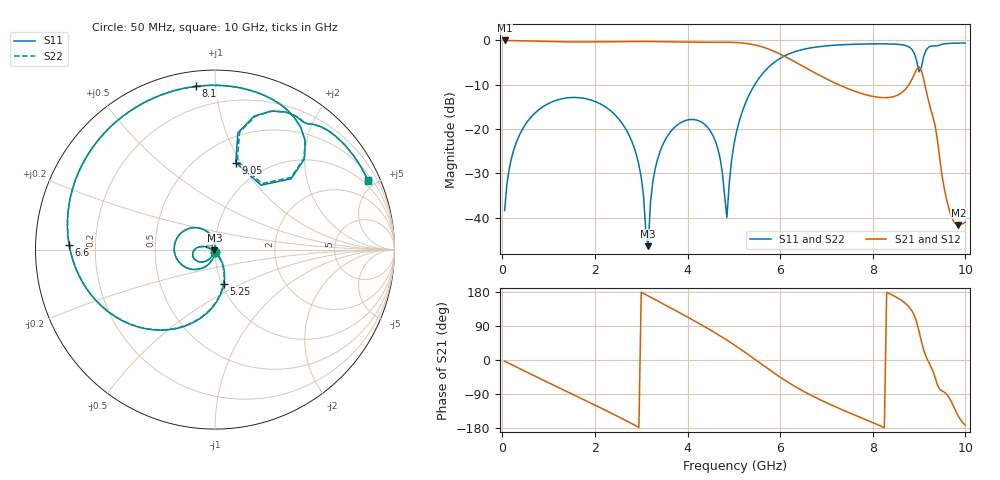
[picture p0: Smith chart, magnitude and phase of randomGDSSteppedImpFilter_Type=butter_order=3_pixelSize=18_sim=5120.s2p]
! freq	dB(S11)	phase(S11)	dB(S12)	phase(S12)
!  dB(S21)	phase(S21)	dB(S22)	phase(S22)
!S-par simulation data
#  GHz  S  DB  R 50
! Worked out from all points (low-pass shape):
!   200 points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, 50 MHz to 10 GHz, reference 50 ohm
!   highest |S21| = -0.01 dB at 50 MHz (marker M1); lowest = -41.6 dB at 9.85 GHz (marker M2)
!   |S21| within 3 dB of the highest: start of sweep to 5.983 GHz
!   lowest |S11| = -46.4 dB at 3.15 GHz (marker M3), VSWR 1.01, Z = 49.7 - j0.364 ohm
!   |S11| at or under -10 dB: start of sweep to 5.45 GHz
!   |S22| runs from -46.5 to -0.6 dB; largest |S21 - S12| = 0
!   S11 on the Smith chart (normalised r, x): 50 MHz: 1.00, -0.02; 5.25 GHz: 1.02, -0.40; 6.6 GHz: 0.10, +0.02; 8.1 GHz: 0.08, +0.89; 9.05 GHz: 0.74, +0.95; 10 GHz: 0.72, +4.49
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0.05  -38.39 -92.5  -0.01 -3.1  -0.01 -3.1  -38.40 -92.5
0.5  -18.94 -120.8  -0.10 -30.4  -0.10 -30.4  -18.94 -120.7
1.75  -13.03 165.6  -0.35 -104.0  -0.35 -104.0  -13.03 165.6
2.75  -21.63 105.9  -0.24 -165.0  -0.24 -165.0  -21.63 105.9
3  -30.90 92.8  -0.23 179.0  -0.23 179.0  -30.89 92.8
3.15  -46.39 -130.1  -0.24 169.3  -0.24 169.3  -46.49 -129.4
3.4  -25.22 -119.3  -0.28 153.0  -0.28 153.0  -25.22 -119.0
4.4  -19.23 177.6  -0.41 85.8  -0.41 85.8  -19.22 178.3
4.7  -26.42 162.6  -0.39 64.0  -0.39 64.0  -26.36 164.7
4.85  -39.92 -115.2  -0.40 52.5  -0.40 52.5  -38.39 -117.3
5.05  -20.98 -61.8  -0.47 36.4  -0.47 36.4  -20.95 -63.3
5.25  -14.16 -75.3  -0.65 19.5  -0.65 19.5  -14.15 -76.1
5.9  -4.74 -130.0  -2.60 -37.1  -2.60 -37.1  -4.73 -130.4
6.6  -1.80 178.2  -6.46 -88.8  -6.46 -88.8  -1.79 178.0
6.7  -1.61 171.8  -7.03 -95.1  -7.03 -95.1  -1.61 171.6
8.1  -0.77 96.6  -12.79 -170.4  -12.79 -170.4  -0.77 96.5
8.35  -0.79 83.8  -12.86 175.7  -12.86 175.7  -0.78 83.7
8.85  -2.08 50.3  -8.68 128.6  -8.68 128.6  -2.06 50.6
9.05  -6.05 76.6  -6.76 48.8  -6.76 48.8  -5.90 75.8
9.25  -1.30 62.9  -15.46 -16.0  -15.46 -16.0  -1.28 62.5
9.85  -0.59 31.2  -41.64 -148.4  -41.64 -148.4  -0.59 30.9
10  -0.58 24.5  -40.98 -172.3  -40.98 -172.3  -0.58 24.3
